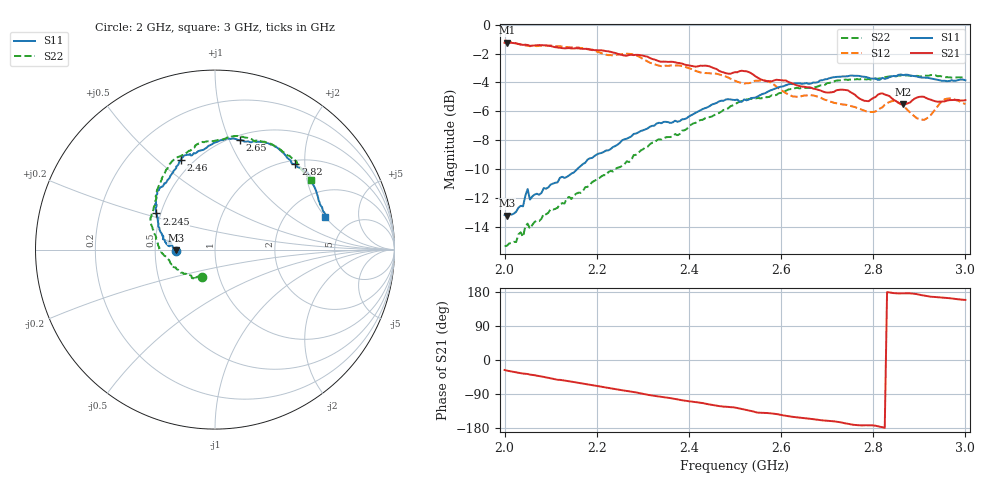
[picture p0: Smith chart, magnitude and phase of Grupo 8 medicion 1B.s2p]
# Hz S DB R 50
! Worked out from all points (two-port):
!   201 points, 2 GHz to 3 GHz, reference 50 ohm
!   highest |S21| = -1.25 dB at 2.005 GHz (marker M1); lowest = -5.5 dB at 2.865 GHz (marker M2)
!   |S21| within 3 dB of the highest: start of sweep to 2.64 GHz
!   lowest |S11| = -13.2 dB at 2.005 GHz (marker M3), VSWR 1.56, Z = 32.1 - j0.248 ohm
!   |S11| at or under -10 dB: start of sweep to 2.158 GHz
!   |S22| runs from -15.4 to -3.5 dB; largest |S21 - S12| = 0.11
!   S11 on the Smith chart (normalised r, x): 2 GHz: 0.64, -0.01; 2.245 GHz: 0.47, +0.22; 2.46 GHz: 0.43, +0.60; 2.65 GHz: 0.55, +1.10; 2.82 GHz: 1.07, +1.79; 3 GHz: 3.25, +2.01
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2e9  -13.21 -177.6  -1.25 -26.3  -1.09 -26.4  -15.36 -116.0
2.005e9  -13.23 -179.0  -1.25 -28.0  -1.12 -28.2  -15.33 -117.6
2.04e9  -12.59 176.4  -1.40 -35.8  -1.41 -35.9  -14.71 -126.7
2.05e9  -11.39 169.2  -1.41 -37.0  -1.45 -37.6  -13.79 -128.9
2.08e9  -11.66 175.4  -1.42 -43.6  -1.46 -43.1  -13.45 -140.9
2.17e9  -9.66 160.2  -1.67 -62.3  -1.62 -62.8  -11.53 -168.0
2.245e9  -8.32 148.4  -2.01 -78.1  -2.07 -77.6  -9.92 174.8
2.335e9  -6.80 134.4  -2.53 -96.3  -2.84 -96.8  -7.94 153.5
2.46e9  -5.43 110.6  -3.07 -120.7  -3.40 -120.4  -6.17 126.9
2.5e9  -5.22 105.2  -3.29 -125.5  -3.88 -127.9  -5.52 119.1
2.53e9  -5.19 100.8  -3.28 -133.5  -4.05 -130.5  -5.15 114.0
2.58e9  -4.52 90.7  -3.93 -141.1  -4.05 -142.5  -4.89 104.7
2.65e9  -4.08 77.1  -4.30 -153.1  -4.91 -151.3  -4.36 93.8
2.67e9  -4.00 73.0  -4.43 -156.3  -4.90 -155.3  -4.33 89.6
2.755e9  -3.52 60.6  -4.76 -170.6  -5.67 -167.9  -3.79 77.2
2.82e9  -3.68 46.8  -4.76 -177.3  -5.72 -171.7  -3.69 67.6
2.835e9  -3.63 43.9  -4.94 178.4  -5.36 -174.8  -3.59 65.3
2.865e9  -3.50 39.6  -5.53 175.9  -5.57 175.7  -3.55 59.9
2.91e9  -3.66 33.2  -5.00 170.1  -6.60 174.8  -3.52 51.6
2.935e9  -3.78 28.3  -5.31 166.2  -5.85 175.8  -3.50 46.9
2.96e9  -3.91 23.3  -5.26 163.9  -5.13 169.5  -3.64 44.4
3e9  -3.85 16.5  -5.23 158.6  -5.50 160.4  -3.61 36.0
